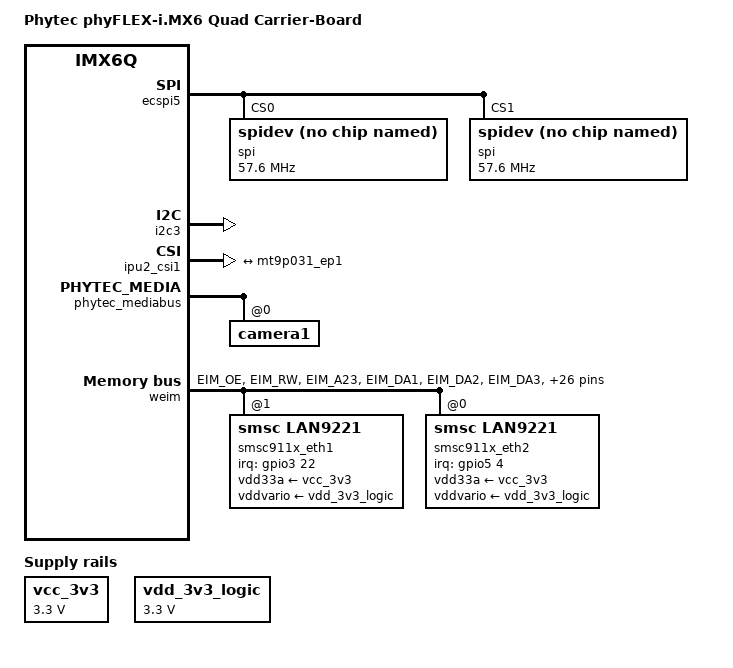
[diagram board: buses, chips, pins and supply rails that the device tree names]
/*
 * Copyright 2013 Christian Hemp, Phytec Messtechnik GmbH
 *
 * The code contained herein is licensed under the GNU General Public
 * License. You may obtain a copy of the GNU General Public License
 * Version 2 or later at the following locations:
 *
 * http://www.opensource.org/licenses/gpl-license.html
 * http://www.gnu.org/copyleft/gpl.html
 */

/dts-v1/;
#include "imx6q-phytec-pfla02.dtsi"
#include "imx6qdl-phytec-pbab01.dtsi"

/ {
	model = "Phytec phyFLEX-i.MX6 Quad Carrier-Board";
	compatible = "phytec,imx6q-pbab01", "phytec,imx6q-pfla02", "fsl,imx6q";

	aliases {
		ipu1 = &ipu2;
	};

	regulators {
		compatible = "simple-bus";
		#address-cells = <1>;
		#size-cells = <0>;

		vcc_3v3: regulator@2 {
			compatible = "regulator-fixed";
			reg = <2>;
			regulator-name = "vcc_3v3";
			regulator-min-microvolt = <3300000>;
			regulator-max-microvolt = <3300000>;
			regulator-always-on;
		};

		vdd_3v3_logic: regulator@3 {
			compatible = "regulator-fixed";
			reg = <3>;
			regulator-name = "vdd_3v3_logic";
			regulator-min-microvolt = <3300000>;
			regulator-max-microvolt = <3300000>;
			regulator-always-on;
		};
	};

	chosen {
		stdout-path = &uart4;
	};
};

&ecspi5 {
	status = "okay";

	spi@0 {
		compatible = "spidev";
		spi-max-frequency = <57600000>;
		reg = <0>;
	};

	spi@1 {
		compatible = "spidev";
		spi-max-frequency = <57600000>;
		reg = <1>;
	};
};

&i2c3 {
	status = "okay";

	mt9p031_1: mt9p031@5d {
		compatible = "aptina,mt9p031";
		status = "disabled";
		reg = <0x5d>;
		vdd-supply = <&reg_vcc_cam1>;
		vdd_io-supply = <&reg_vcc_cam1>;
		vaa-supply = <&reg_vcc_cam1>;

		clocks = <&phytec_mediabus 1>;

		port {
			mt9p031_ep1: endpoint {
				input-clock-frequency = <54000000>;
				pixel-clock-frequency = <54000000>;
				pclk-sample = <1>;
				remote-endpoint = <&csi1_ep>;
			};
		};
	};

	mt9v024m_1: mt9v024m@4c {
		compatible = "aptina,mt9v024m";
		reg = <0x4c>;
		status = "disabled";

		clocks = <&phytec_mediabus 1>;

		port {
			mt9v024m_ep1: endpoint {
				link-frequencies = /bits/ 64
					<27000000>;
				pclk-sample = <0>;
				remote-endpoint = <&csi1_ep>;
			};
		};
        };

	mt9m111_1: mt9m111@5d {
		compatible = "micron,mt9m111";
		status = "disabled";
		reg = <0x5d>;

		clocks = <&phytec_mediabus 1>;
		clock-names = "mclk";
		port {
			mt9m111_ep1: endpoint {
				bus-width = <8>;
				remote-endpoint = <&csi1_ep>;
			};
		};
	};

	mt9m001_1: mt9m001@5d_1 {
		compatible = "aptina,mt9m001";
		status = "disabled";
		reg = <0x5d>;

		clocks = <&phytec_mediabus 1>;
		port {
			mt9m001_ep1: endpoint {
				bus-width = <8>;
				link-frequencies = /bits/ 64
					<36000000 43200000>;
				remote-endpoint = <&csi1_ep>;
			};
		};
	};

	tw9910_1: tw9910@44 {
		compatible = "techwell,tw9910";
		status = "disbaled";
		reg = <0x44>;

		clocks = <&phytec_mediabus 1>;

		port {
			tw9910_ep1: endpoint {
				bus-width = <8>;
				mpout = <7>;
				link-frequencies = /bits/ 64 <27000000>;
				remote-endpoint = <&csi1_ep>;
			};
		};
	};
};

&ipu2_csi1 {
	#address-cells = <1>;
	#size-cells = <0>;

	/* Parallel bus */
	csi1_ep: endpoint {
		bus-width = <8>;
		remote-endpoint = <&mt9p031_ep1>;
	};
};

&phytec_mediabus {
	pinctrl-names = "default";
	pinctrl-0 = <&pinctrl_cam0data
			&pinctrl_cam0clk
			&pinctrl_cam0switch
			&pinctrl_cam1data
			&pinctrl_cam1clk
			&pinctrl_cam1switch>;

	phytec,cam1_data_en-gpio = <&gpio3 10 GPIO_ACTIVE_LOW>;
	phytec,cam1_npwrdn-gpio  = <&gpio2 28 GPIO_ACTIVE_LOW>;

	camera1@0 {

	};
};

&sata {
        status = "disabled";
};

&hdmi {
	status = "disabled";
};

&iomuxc {
	weim {
		/* Pin control for ETH1 via EIM bus */
		pinctrl_weim_cs0: weim_cs0 {
			fsl,pins = <
				/* nCS (GPIO9) */
				MX6QDL_PAD_EIM_CS0__EIM_CS0_B        0xb0b1
				/* IRQ input from PHY */
				MX6QDL_PAD_EIM_A24__GPIO5_IO04       0x1f0c1
				/* PME Power Wakupe signal from PHY */
				MX6QDL_PAD_GPIO_16__GPIO7_IO11       0x1f0c1
			>;
		};

		pinctrl_weim_cs1: weim_cs1 {
			fsl,pins = <
				/* nCS (GPIO10) */
				MX6QDL_PAD_EIM_CS1__EIM_CS1_B        0xb0b1
				/* IRQ input from PHY (4.7k PU on line) */
				MX6QDL_PAD_EIM_D22__GPIO3_IO22       0x1f0c1
				/* PME Power Wakeup signal from PHY */
				MX6QDL_PAD_DISP0_DAT15__GPIO5_IO09   0x1f0c1
			>;
		};

		pinctrl_weim_bus: weim_bus {
			fsl,pins = <
				/* Control Lines */
				/* RD# */
				MX6QDL_PAD_EIM_OE__EIM_OE_B          0x1b0b1
				/* WR# */
				MX6QDL_PAD_EIM_RW__EIM_RW            0xb0b1
				/* FIFO_SEL */
				MX6QDL_PAD_EIM_A23__GPIO6_IO06       0xf0b1

				/* Address Lines (SRE_FAST) */
				MX6QDL_PAD_EIM_DA1__EIM_AD01         0xb0b1
				MX6QDL_PAD_EIM_DA2__EIM_AD02         0xb0b1
				MX6QDL_PAD_EIM_DA3__EIM_AD03         0xb0b1
				MX6QDL_PAD_EIM_DA4__EIM_AD04         0xb0b1
				MX6QDL_PAD_EIM_DA5__EIM_AD05         0xb0b1
				MX6QDL_PAD_EIM_DA6__EIM_AD06         0xb0b1
				MX6QDL_PAD_EIM_DA7__EIM_AD07         0xb0b1

				/* Data Lines (HYS | SRE_SLOW) */
				MX6QDL_PAD_CSI0_DATA_EN__EIM_DATA00  0x1b0b0
				MX6QDL_PAD_CSI0_VSYNC__EIM_DATA01    0x1b0b0
				MX6QDL_PAD_CSI0_DAT4__EIM_DATA02     0x1b0b0
				MX6QDL_PAD_CSI0_DAT5__EIM_DATA03     0x1b0b0
				MX6QDL_PAD_CSI0_DAT6__EIM_DATA04     0x1b0b0
				MX6QDL_PAD_CSI0_DAT7__EIM_DATA05     0x1b0b0
				MX6QDL_PAD_CSI0_DAT8__EIM_DATA06     0x1b0b0
				MX6QDL_PAD_CSI0_DAT9__EIM_DATA07     0x1b0b0
				MX6QDL_PAD_CSI0_DAT12__EIM_DATA08    0x1b0b0
				MX6QDL_PAD_CSI0_DAT13__EIM_DATA09    0x1b0b0
				MX6QDL_PAD_CSI0_DAT14__EIM_DATA10    0x1b0b0
				MX6QDL_PAD_CSI0_DAT15__EIM_DATA11    0x1b0b0
				MX6QDL_PAD_CSI0_DAT16__EIM_DATA12    0x1b0b0
				MX6QDL_PAD_CSI0_DAT17__EIM_DATA13    0x1b0b0
				MX6QDL_PAD_CSI0_DAT18__EIM_DATA14    0x1b0b0
				MX6QDL_PAD_CSI0_DAT19__EIM_DATA15    0x1b0b0
			>;
		};
	};
};

&weim {
	pinctrl-names = "default";
	pinctrl-0 = <&pinctrl_weim_bus &pinctrl_weim_cs0 &pinctrl_weim_cs1>;

	#address-cells = <2>;
	#size-cells = <1>;
	ranges = <0 0 0x08000000 0x04000000
		  1 0 0x0c000000 0x04000000>;
	fsl,weim-cs-gpr = <&gpr>;

	smsc911x_eth1: weim@1,0 {
		compatible = "smsc,lan9221", "smsc,lan9115";
		reg = <1 0 0x04000000>;

		vdd33a-supply = <&vcc_3v3>;
		vddvario-supply = <&vdd_3v3_logic>;

		#interrupt-cells = <2>;
		interrupt-parent = <&gpio3>;
		interrupts = <22 0x8>;

		phy-mode = "mii";

		reg-shift = <1>;
		reg-io-width = <2>;
		smsc,irq-push-pull;
		smsc,force-internal-phy;
		smsc,save-mac-address;

		fsl,weim-cs = <1>;
		fsl,weim-cs-timing = <0x006100B1 /* EIM_CSnGCR1 */
				      0x00000000 /* EIM_CSnGCR2 */
				      0x04080000 /* EIM_CSnRCR1 */
				      0x00000000 /* EIM_CSnRCR2 */
				      0xC4000000 /* EIM_CSnWCR1 */
				      0x00000000 /* EIM_CSnWCR2 */
		>;
	};

	smsc911x_eth2: weim@0,0 {
		compatible = "smsc,lan9221", "smsc,lan9115";
		reg = <0 0 0x04000000>;

		vdd33a-supply = <&vcc_3v3>;
		vddvario-supply = <&vdd_3v3_logic>;

		#interrupt-cells = <2>;
		interrupt-parent = <&gpio5>;
		interrupts = <4 0x8>;

		phy-mode = "mii";

		reg-shift = <1>;
		reg-io-width = <2>;
		smsc,irq-push-pull;
		smsc,force-internal-phy;
		smsc,save-mac-address;

		fsl,weim-cs = <0>;
		fsl,weim-cs-timing = <0x006100B1 /* EIM_CSnGCR1 */
				      0x00000000 /* EIM_CSnGCR2 */
				      0x04080000 /* EIM_CSnRCR1 */
				      0x00000000 /* EIM_CSnRCR2 */
				      0xC4000000 /* EIM_CSnWCR1 */
				      0x00000000 /* EIM_CSnWCR2 */
		>;
	};
};
